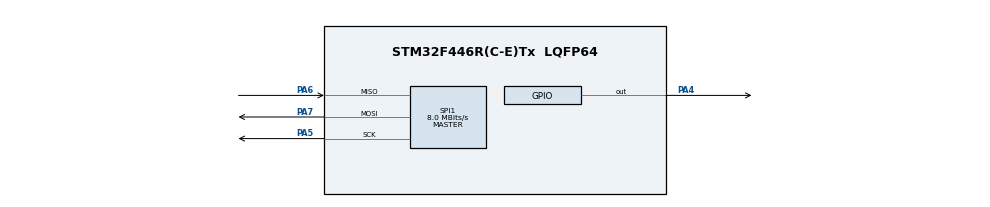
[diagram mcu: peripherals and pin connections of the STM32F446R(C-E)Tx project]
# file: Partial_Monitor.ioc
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Mcu.Family=STM32F4
Mcu.Name=STM32F446R(C-E)Tx
Mcu.Package=LQFP64
NVIC.PriorityGroup=NVIC_PRIORITYGROUP_4
NVIC.TIM6_DAC_IRQn=true\:15\:0\:false\:false\:true\:false\:true\:true
NVIC.TimeBase=TIM6_DAC_IRQn
NVIC.TimeBaseIP=TIM6
PA13.Mode=Serial_Wire
PA13.Signal=SYS_JTMS-SWDIO
PA14.Mode=Serial_Wire
PA14.Signal=SYS_JTCK-SWCLK
PA4.Signal=GPIO_Output
PA5.Mode=Full_Duplex_Master
PA5.Signal=SPI1_SCK
PA6.Mode=Full_Duplex_Master
PA6.Signal=SPI1_MISO
PA7.Mode=Full_Duplex_Master
PA7.Signal=SPI1_MOSI
ProjectManager.HeapSize=0x200
ProjectManager.StackSize=0x400
ProjectManager.TargetToolchain=STM32CubeIDE
RCC.CortexFreq_Value=16000000
RCC.USBFreq_Value=96000000
RCC.VCOOutputFreq_Value=192000000
SPI1.CalculateBaudRate=8.0 MBits/s
SPI1.Direction=SPI_DIRECTION_2LINES
SPI1.Mode=SPI_MODE_MASTER
SPI1.VirtualType=VM_MASTER
VP_SYS_VS_tim6.Mode=TIM6
board=custom

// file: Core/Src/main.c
/* USER CODE BEGIN Header */
/**
  ******************************************************************************
  * @file           : main.c
  * @brief          : Main program body
  ******************************************************************************
  * @attention
  *
  * Copyright (c) 2026 STMicroelectronics.
  * All rights reserved.
  *
  * This software is licensed under terms that can be found in the LICENSE file
  * in the root directory of this software component.
  * If no LICENSE file comes with this software, it is provided AS-IS.
  *
  ******************************************************************************
  */
/* USER CODE END Header */
#include "main.h"

/* USER CODE BEGIN Includes */
#include <stdio.h>
#include <string.h>
#include "rtc.h"
#include "internalTemperature.h"
#include "vrefint.h"
#include "FreeRTOS.h"
#include "task.h"
#include "W25Q32.h"
#include "uart.h"
#include "queue.h"
#include "message_buffer.h"
/* USER CODE END Includes */

/* USER CODE BEGIN PM */

#define TOTAL_COUNT 300000

#define W25Q_START_ADDR 0x000000

/* USER CODE END PM */

SPI_HandleTypeDef hspi1;

/* USER CODE BEGIN PV */

int adc_raw;

uint16_t vref_raw;

//Current time
uint32_t hours=10;
uint32_t minutes=50;
uint32_t seconds=0;
uint32_t format=1;

TaskHandle_t temperatureTaskHandle;
TaskHandle_t vrefintTaskHandle;
TaskHandle_t rtcTaskHandle;
TaskHandle_t ramAndLoadStatsTaskHandle;
TaskHandle_t logTaskHandle;
TaskHandle_t readFlashTaskHandle;
TaskHandle_t shellInputTaskHandle;
TaskHandle_t getStatsTaskHandle;
TaskHandle_t getLogTaskHandle;
TaskHandle_t printTaskHandle;

QueueHandle_t shellRxQHandle;

MessageBufferHandle_t printBufHandle;

volatile uint32_t idleCount;

uint8_t writebuffer[256];
char tempMsg[256];

typedef struct{
	uint8_t hr;
	uint8_t min;
	uint8_t sec;
	float actualTemperature;
	float actualVoltage;
	size_t freeHeap;
	float cpuLoad;
}system_state_typedef;

system_state_typedef system_state;

/* USER CODE END PV */

void SystemClock_Config(void);
static void MX_GPIO_Init(void);
static void MX_SPI1_Init(void);

/* USER CODE BEGIN 0 */

void vApplicationIdleHook(void){
	idleCount++;
}

void temperatureTask(void *parameters){

	while(1){
		vTaskDelay(pdMS_TO_TICKS(500));

		adc_raw=getIntTemp();
		system_state.actualTemperature=scaleTemperature(adc_raw);
	}
}

void vrefintTask(void *parameters){

	while(1){
		vTaskDelay(pdMS_TO_TICKS(500));

		vref_raw=getIntVolt();
		system_state.actualVoltage=scaleVoltage(vref_raw);

	}
}

void rtcTask(void *parameters){

	while(1){
		vTaskDelay(pdMS_TO_TICKS(500));

		system_state.hr=get_hours();
	    system_state.min=get_minutes();
	    system_state.sec=get_seconds();
	}
}

void ramAndLoadStatsTask(void *parameters){

	while(1){
		vTaskDelay(pdMS_TO_TICKS(500));

		system_state.freeHeap=xPortGetFreeHeapSize();

		system_state.cpuLoad=(1.0 - (float)idleCount/(float)TOTAL_COUNT) * 100.0;
		idleCount=0;
	}
}

void logTask(void *parameters){
	static uint32_t currentAddress=0x0;
	static uint32_t nextPageAddress=0x100; //256 bytes

	while(1){
		vTaskDelay(pdMS_TO_TICKS(2000));

		uint16_t len=sprintf((char*)writebuffer,
				"=========================================\r\n"
				"TIME				%u:%u:%u\r\n"
				"INTERNAL TEMPERATURE 	%.2f degrees\r\n"
				"INTERNAL VOLTAGE 		%.3f V\r\n"
				"TOTAL FREE HEAP AVAILABLE:   %u bytes\r\n"
				"CPU Load: 			%.1f\r\n"
				"=========================================\r\n", system_state.hr, system_state.min, system_state.sec,
				system_state.actualTemperature, system_state.actualVoltage, system_state.freeHeap, system_state.cpuLoad);

		if((nextPageAddress-currentAddress) < (len+1)){
			currentAddress=nextPageAddress;
			nextPageAddress+=256;
		}

		W25Q32_Write(currentAddress, writebuffer, (len+1));
		currentAddress+=(len+1);

		xTaskNotify(readFlashTaskHandle, (uint32_t)len, eSetValueWithOverwrite);
	}
}

void readFlashTask(void *parameters){

	static uint32_t readAddress=(uint32_t)W25Q_START_ADDR;
	uint32_t notificationValue;

	while(1){

		xTaskNotifyWait(0, 0, &notificationValue, portMAX_DELAY);

		uint8_t buffer[256];

		W25Q32_Read(readAddress, buffer, (uint16_t)(notificationValue+1));

		readAddress+=256;
	}
}

void shellInputTask(void *parameters){
	char *buffer="\n\nWHAT DO YOU WANT?\r\n\n"
			"GET ELABORATE RUN-TIME STATS:	1\r\n"
			"GET LOG DATA:			2\r\n"
			"CONFIGURE TIME:			3\r\n"
			"FLASH CHIP ERASE		4\r\n\n";

	uint8_t ch;
	uint8_t rxBuf[8];
	uint8_t idx=0;

	sprintf(tempMsg, "Click anything to start\r\n");
	xMessageBufferSend(printBufHandle, tempMsg, strlen(tempMsg)+1, portMAX_DELAY);

	while(1){

		xQueueReceive(shellRxQHandle, &ch, portMAX_DELAY);

		if(ch=='\r' || ch=='\n' || ch=='\0' || idx==7){
			rxBuf[idx]='\0';
			idx=0;

			int option=rxBuf[0];
			switch(option){
			case 49:
				xTaskNotifyGive(getStatsTaskHandle);
				break;
			case 50:
				xTaskNotifyGive(getLogTaskHandle);
				break;
			case 52:
				W25Q32_BlockErase(W25Q_START_ADDR);
				sprintf(tempMsg, "\n\tMESSAGE: Winbond Chip erased.\r\n\n\nClick anything to continue...\r\n");
				xMessageBufferSend(printBufHandle, tempMsg, strlen(tempMsg)+1, portMAX_DELAY);
				break;
			case 51:
				sprintf(tempMsg,"Enter value for HOURS: \r\n");
				xMessageBufferSend(printBufHandle, tempMsg, strlen(tempMsg)+1, portMAX_DELAY);
				xQueueReceive(shellRxQHandle, &ch, portMAX_DELAY);
				if(ch!=13){
					hours=0;
					hours+=(ch & 0xFF)-'0';

					xQueueReceive(shellRxQHandle, &ch, portMAX_DELAY);
					if(ch!=13){
						hours*=10;
						hours+=(ch & 0xFF)-'0';
					}
				}

				sprintf(tempMsg,"Enter value for MINS: \r\n");
				xMessageBufferSend(printBufHandle, tempMsg, strlen(tempMsg)+1, portMAX_DELAY);
				xQueueReceive(shellRxQHandle, &ch, portMAX_DELAY);
				if(ch!=13){
					minutes=0;
					minutes+=(ch & 0xFF)-'0';

					xQueueReceive(shellRxQHandle, &ch, portMAX_DELAY);
					if(ch!=13){
						minutes*=10;
						minutes+=(ch & 0xFF)-'0';
					}
				}

				sprintf(tempMsg,"Enter value for SECONDS: \r\n");
				xMessageBufferSend(printBufHandle, tempMsg, strlen(tempMsg)+1, portMAX_DELAY);
				xQueueReceive(shellRxQHandle, &ch, portMAX_DELAY);
				if(ch!=13){
					seconds=0;
					seconds+=(ch & 0xFF)-'0';

					xQueueReceive(shellRxQHandle, &ch, portMAX_DELAY);
					if(ch!=13){
						seconds*=10;
						seconds+=(ch & 0xFF)-'0';
					}
				}

				rtc_init(seconds, minutes, hours, format);
				sprintf(tempMsg,"\n\tMESSAGE: Time configured to %lu:%lu:%lu\r\n\nClick anything to continue...\r\n"
						, hours, minutes, seconds);
				xMessageBufferSend(printBufHandle, tempMsg, strlen(tempMsg)+1, portMAX_DELAY);
				break;
			default:
				sprintf(tempMsg, "%s\r\n", buffer);
				xMessageBufferSend(printBufHandle, tempMsg, strlen(tempMsg)+1, portMAX_DELAY);
				break;
			}

		}else{
			rxBuf[idx++]=ch;
		}

	}
}

void getStatsTask(void *params){

	while(1){
		ulTaskNotifyTake(pdTRUE, portMAX_DELAY);

		char stats[256];

		vTaskGetRunTimeStats(stats);

		xMessageBufferSend(printBufHandle, stats, strlen(stats)+1, portMAX_DELAY);

		sprintf(tempMsg, "\nClick anything to continue...\r\n");
		xMessageBufferSend(printBufHandle, tempMsg, strlen(tempMsg)+1, portMAX_DELAY);
	}
}

void getLogTask(void *param){

	while(1){
		ulTaskNotifyTake(pdTRUE, portMAX_DELAY);

		xMessageBufferSend(printBufHandle, writebuffer, strlen((char*)writebuffer)+1, portMAX_DELAY);

		sprintf(tempMsg,"\r\n\nClick anything to continue...\r\n");
		xMessageBufferSend(printBufHandle, tempMsg, strlen(tempMsg)+1, portMAX_DELAY);
	}
}

void printTask(void *parameters){
	uint8_t printData[256];

	while(1){
		xMessageBufferReceive(printBufHandle, printData, sizeof(printData), portMAX_DELAY);

		printf("%s", printData);
	}
}
/* USER CODE END 0 */

int main(void)
{

  /* MCU Configuration--------------------------------------------------------*/

  /* Reset of all peripherals, Initializes the Flash interface and the Systick. */
  HAL_Init();

  /* Configure the system clock */
  SystemClock_Config();

  /* Initialize all configured peripherals */
  MX_GPIO_Init();
  MX_SPI1_Init();
  /* USER CODE BEGIN 2 */
  uart_init();
  tim2_init(); //For getting runtime stats

  printf("\nSYSTEM MONITOR SHELL\r\n\n");

  W25Q32_init();
  W25Q32_BlockErase(W25Q_START_ADDR);

  rtc_init(seconds, minutes, hours, format);
  adc_init();

  BaseType_t taskCreationStatus;

  taskCreationStatus = xTaskCreate(temperatureTask, "TEMP", 200, NULL, 1, &temperatureTaskHandle);
  configASSERT(taskCreationStatus==pdPASS);

  taskCreationStatus = xTaskCreate(vrefintTask, "VREFINT", 200, NULL, 1, &vrefintTaskHandle);
  configASSERT(taskCreationStatus==pdPASS);

  taskCreationStatus = xTaskCreate(rtcTask, "RTC", 200, NULL, 1, &rtcTaskHandle);
  configASSERT(taskCreationStatus==pdPASS);

  taskCreationStatus = xTaskCreate(ramAndLoadStatsTask, "RAM&LOAD", 200, NULL, 1, &ramAndLoadStatsTaskHandle);
  configASSERT(taskCreationStatus==pdPASS);

  taskCreationStatus = xTaskCreate(logTask, "LOGGER", 300, NULL, 2, &logTaskHandle);
  configASSERT(taskCreationStatus==pdPASS);

  taskCreationStatus = xTaskCreate(readFlashTask, "READ LOG", 300, NULL, 2, &readFlashTaskHandle);
  configASSERT(taskCreationStatus==pdPASS);

  taskCreationStatus = xTaskCreate(shellInputTask, "SHELL INPUT", 200, NULL, 3, &shellInputTaskHandle);
  configASSERT(taskCreationStatus==pdPASS);

  taskCreationStatus = xTaskCreate(getStatsTask, "STATS", 200, NULL, 3, &getStatsTaskHandle);
  configASSERT(taskCreationStatus==pdPASS);

  taskCreationStatus = xTaskCreate(getLogTask, "GET LOG", 300, NULL, 3, &getLogTaskHandle);
  configASSERT(taskCreationStatus==pdPASS);

  taskCreationStatus = xTaskCreate(printTask, "DISPLAY", 300, NULL, 3, &printTaskHandle);
  configASSERT(taskCreationStatus==pdPASS);

  shellRxQHandle= xQueueCreate(16, sizeof(uint8_t));

  printBufHandle= xMessageBufferCreate(256);

  vTaskStartScheduler();
  /* USER CODE END 2 */

  /* Infinite loop */
  while (1)
  {

  }
}

void SystemClock_Config(void)
{
  RCC_OscInitTypeDef RCC_OscInitStruct = {0};
  RCC_ClkInitTypeDef RCC_ClkInitStruct = {0};

  /** Configure the main internal regulator output voltage
  */
  __HAL_RCC_PWR_CLK_ENABLE();
  __HAL_PWR_VOLTAGESCALING_CONFIG(PWR_REGULATOR_VOLTAGE_SCALE3);

  /** Initializes the RCC Oscillators according to the specified parameters
  * in the RCC_OscInitTypeDef structure.
  */
  RCC_OscInitStruct.OscillatorType = RCC_OSCILLATORTYPE_HSI;
  RCC_OscInitStruct.HSIState = RCC_HSI_ON;
  RCC_OscInitStruct.HSICalibrationValue = RCC_HSICALIBRATION_DEFAULT;
  RCC_OscInitStruct.PLL.PLLState = RCC_PLL_NONE;
  if (HAL_RCC_OscConfig(&RCC_OscInitStruct) != HAL_OK)
  {
    Error_Handler();
  }

  /** Initializes the CPU, AHB and APB buses clocks
  */
  RCC_ClkInitStruct.ClockType = RCC_CLOCKTYPE_HCLK|RCC_CLOCKTYPE_SYSCLK
                              |RCC_CLOCKTYPE_PCLK1|RCC_CLOCKTYPE_PCLK2;
  RCC_ClkInitStruct.SYSCLKSource = RCC_SYSCLKSOURCE_HSI;
  RCC_ClkInitStruct.AHBCLKDivider = RCC_SYSCLK_DIV1;
  RCC_ClkInitStruct.APB1CLKDivider = RCC_HCLK_DIV1;
  RCC_ClkInitStruct.APB2CLKDivider = RCC_HCLK_DIV1;

  if (HAL_RCC_ClockConfig(&RCC_ClkInitStruct, FLASH_LATENCY_0) != HAL_OK)
  {
    Error_Handler();
  }
}

static void MX_SPI1_Init(void)
{

  /* SPI1 parameter configuration*/
  hspi1.Instance = SPI1;
  hspi1.Init.Mode = SPI_MODE_MASTER;
  hspi1.Init.Direction = SPI_DIRECTION_2LINES;
  hspi1.Init.DataSize = SPI_DATASIZE_8BIT;
  hspi1.Init.CLKPolarity = SPI_POLARITY_LOW;
  hspi1.Init.CLKPhase = SPI_PHASE_1EDGE;
  hspi1.Init.NSS = SPI_NSS_SOFT;
  hspi1.Init.BaudRatePrescaler = SPI_BAUDRATEPRESCALER_2;
  hspi1.Init.FirstBit = SPI_FIRSTBIT_MSB;
  hspi1.Init.TIMode = SPI_TIMODE_DISABLE;
  hspi1.Init.CRCCalculation = SPI_CRCCALCULATION_DISABLE;
  hspi1.Init.CRCPolynomial = 10;
  if (HAL_SPI_Init(&hspi1) != HAL_OK)
  {
    Error_Handler();
  }

}

static void MX_GPIO_Init(void)
{
  GPIO_InitTypeDef GPIO_InitStruct = {0};

  /* GPIO Ports Clock Enable */
  __HAL_RCC_GPIOA_CLK_ENABLE();

  /*Configure GPIO pin Output Level */
  HAL_GPIO_WritePin(GPIOA, GPIO_PIN_4, GPIO_PIN_RESET);

  /*Configure GPIO pin : PA4 */
  GPIO_InitStruct.Pin = GPIO_PIN_4;
  GPIO_InitStruct.Mode = GPIO_MODE_OUTPUT_PP;
  GPIO_InitStruct.Pull = GPIO_NOPULL;
  GPIO_InitStruct.Speed = GPIO_SPEED_FREQ_LOW;
  HAL_GPIO_Init(GPIOA, &GPIO_InitStruct);

}

void HAL_TIM_PeriodElapsedCallback(TIM_HandleTypeDef *htim)
{
  if (htim->Instance == TIM6)
  {
    HAL_IncTick();
  }
}

void Error_Handler(void)
{
  __disable_irq();
  while (1)
  {
  }
}
